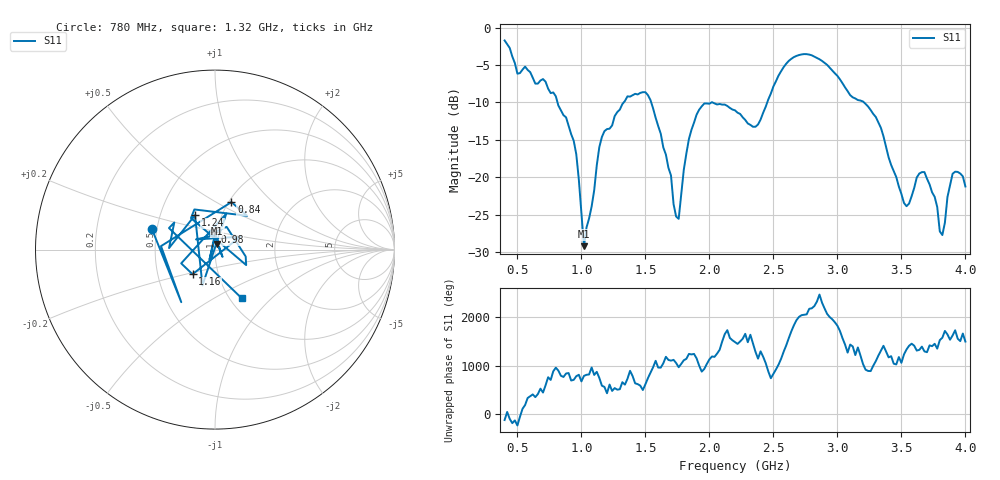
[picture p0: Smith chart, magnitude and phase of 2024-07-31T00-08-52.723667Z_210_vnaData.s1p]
!Created with skrf (http://scikit-rf.org).
# Hz S RI R 50.0
!freq ReS11 ImS11
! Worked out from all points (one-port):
!   181 points, 400 MHz to 4 GHz, reference 50 ohm
!   lowest |S11| = -29.2 dB at 1.02 GHz (marker M1), VSWR 1.07, Z = 51.2 + j3.3 ohm
!   |S11| at or under -10 dB: 813.3 MHz to 1.331 GHz (517.3 MHz wide, 48.3 % of centre); 1.546 GHz to 2.017 GHz (471.1 MHz wide, 26.4 % of centre); 3.208 GHz to end of sweep (the widest 3 of 4)
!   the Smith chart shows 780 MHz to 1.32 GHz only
!   S11 on the Smith chart (normalised r, x): 780 MHz: 0.47, +0.12; 840 MHz: 1.03, +0.59; 980 MHz: 0.98, +0.19; 1.16 GHz: 0.75, -0.21; 1.24 GHz: 0.75, +0.30; 1.32 GHz: 1.13, -0.68
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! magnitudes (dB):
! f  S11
! 400 MHz  -1.7
! 500 MHz  -6.2
! 780 MHz  -8.7
! 840 MHz  -11.1
! 860 MHz  -11.7
! 940 MHz  -15.1
! 980 MHz  -20.3
! 1.02 GHz  -29.2
! 1.16 GHz  -14.6
! 1.24 GHz  -13.1
! 1.3 GHz  -11.0
! 1.32 GHz  -10.2
! 1.54 GHz  -9.7
! 1.76 GHz  -25.6
! 1.82 GHz  -16.8
! 1.9 GHz  -11.6
! 2.2 GHz  -11.1
! 2.38 GHz  -12.9
! 2.66 GHz  -3.9
! 2.88 GHz  -4.4
! 3.1 GHz  -9.0
! 3.3 GHz  -11.9
! 3.52 GHz  -23.4
! 3.56 GHz  -23.5
! 3.68 GHz  -19.3
! 3.82 GHz  -27.7
! 3.9 GHz  -19.5
! 4 GHz  -21.2
